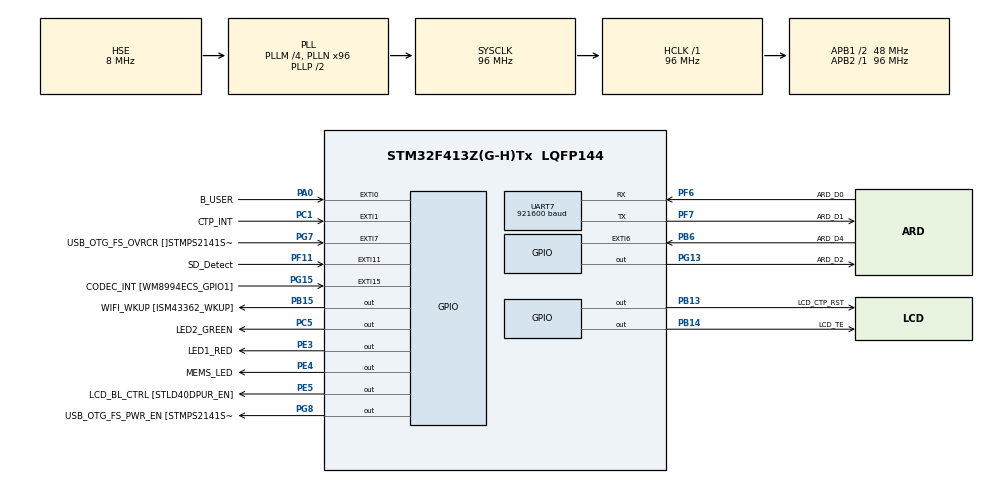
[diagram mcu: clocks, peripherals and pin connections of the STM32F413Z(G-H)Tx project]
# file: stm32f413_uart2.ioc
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Mcu.Family=STM32F4
Mcu.Name=STM32F413Z(G-H)Tx
Mcu.Package=LQFP144
NVIC.PriorityGroup=NVIC_PRIORITYGROUP_4
PA0.GPIO_Label=B_USER
PA0.Signal=GPXTI0
PA1.GPIO_Label=ARD_A1
PA1.Signal=ADCx_IN1
PA10.GPIO_Label=USB_OTG_FS_ID
PA10.Signal=USB_OTG_FS_ID
PA11.GPIO_Label=USB_OTG_FS_DM
PA11.Signal=USB_OTG_FS_DM
PA12.GPIO_Label=USB_OTG_FS_DP
PA12.Signal=USB_OTG_FS_DP
PA13.GPIO_Label=STLINK_JTMS_SWDIO
PA13.Signal=SYS_JTMS-SWDIO
PA14.GPIO_Label=STLINK_JTMS_SWCLK
PA14.Signal=SYS_JTCK-SWCLK
PA15.GPIO_Label=ARD_D10
PA15.Signal=S_TIM2_CH1_ETR
PA2.GPIO_Label=ARD_A2
PA2.Signal=ADCx_IN2
PA3.GPIO_Label=CODEC_MCK [WM8994ECS_MCLK1]
PA3.Signal=I2S2_MCK
PA4.GPIO_Label=ARD_D8
PA4.Signal=COMP_DAC1_group
PA5.GPIO_Label=ARD_A3
PA5.Signal=ADCx_IN5
PA6.GPIO_Label=SD_CMD
PA6.Signal=SDIO_CMD
PA7.GPIO_Label=DFSDM2_DATIN1
PA7.Signal=S_DATAIN1DFSDM2
PA8.GPIO_Label=DFSDM1_CKOUT
PA8.Signal=S_CKOUTDFSDM1
PA9.GPIO_Label=USB_OTG_FS_VBUS
PA9.Signal=USB_OTG_FS_VBUS
PB0.GPIO_Label=ARD_D6
PB0.Signal=S_TIM3_CH3
PB1.GPIO_Label=ARD_A4
PB1.Signal=ADCx_IN9
PB10.GPIO_Label=ARD_D15
PB10.Signal=I2C2_SCL
PB11.GPIO_Label=ARD_D14
PB11.Signal=I2C2_SDA
PB12.GPIO_Label=ARD_D13 [ISM43362_SCK]
PB12.Signal=SPI3_SCK
PB13.GPIO_Label=LCD_CTP_RST
PB13.Signal=GPIO_Output
PB14.GPIO_Label=LCD_TE
PB14.Signal=GPIO_Output
PB15.GPIO_Label=WIFI_WKUP [ISM43362_WKUP]
PB15.Signal=GPIO_Output
PB2.GPIO_Label=QSPI_CLK [N25Q128A13EF840F_C]
PB2.Signal=QUADSPI_CLK
PB3.GPIO_Label=STLINK_JTDO_SWCLK
PB3.Signal=SYS_JTDO-SWO
PB4.GPIO_Label=ARD_D12 [ISM43362_MISO]
PB4.Signal=SPI3_MISO
PB5.GPIO_Label=ARD_D11 [ISM43362_MOSI]
PB5.Signal=SPI3_MOSI
PB6.GPIO_Label=ARD_D4
PB6.Signal=GPXTI6
PB7.GPIO_Label=DFSDM2_DATIN7
PB7.Signal=S_DATAIN7DFSDM2
PB8.GPIO_Label=ARD_D9
PB8.Signal=S_TIM4_CH3
PB9.GPIO_Label=CODEC_WS [WM8994ECS_LRCLK1]
PB9.Signal=I2S2_WS
PC0.GPIO_Label=ARD_A0
PC0.Signal=ADCx_IN10
PC1.GPIO_Label=CTP_INT
PC1.Signal=GPXTI1
PC10.GPIO_Label=SD_D2
PC10.Signal=SDIO_D2
PC11.GPIO_Label=SD_D3
PC11.Signal=SDIO_D3
PC12.GPIO_Label=SD_CLK
PC12.Signal=SDIO_CK
PC14-OSC32_IN.GPIO_Label=OSC32_IN
PC14-OSC32_IN.Signal=RCC_OSC32_IN
PC15-OSC32_OUT.GPIO_Label=OSC32_OUT
PC15-OSC32_OUT.Signal=RCC_OSC32_OUT
PC2.GPIO_Label=CODEC_ext_SD [WM8994ECS_ADC_DAT1]
PC2.Signal=I2S2_ext_SD
PC3.GPIO_Label=CODEC_SD [WM8994ECS_DACDAT1]
PC3.Signal=I2S2_SD
PC4.GPIO_Label=ARD_A5
PC4.Signal=ADCx_IN14
PC5.GPIO_Label=LED2_GREEN
PC5.Signal=GPIO_Output
PC6.GPIO_Label=I2CFMP1_SCL [WM8994ECS_CLK]
PC6.Signal=FMPI2C1_SCL
PC7.GPIO_Label=I2CFMP_SDA [WM8994ECS_SDA]
PC7.Signal=FMPI2C1_SDA
PC8.GPIO_Label=SD_D0
PC8.Signal=SDIO_D0
PC9.GPIO_Label=SD_D1
PC9.Signal=SDIO_D1
PD0.GPIO_Label=LCD_PSRAM_D2
PD0.Signal=FSMC_D2_DA2
PD1.GPIO_Label=LCD_PSRAM_D3
PD1.Signal=FSMC_D3_DA3
PD10.GPIO_Label=LCd_PSRAM_D15
PD10.Signal=FSMC_D15_DA15
PD11.GPIO_Label=PSRAM_A16 [IS66WV51216EBLL_A16]
PD11.Signal=FSMC_A16
PD12.GPIO_Label=PSRAM_A17 [IS66WV51216EBLL_A17]
PD12.Signal=FSMC_A17
PD13.GPIO_Label=QSPI_BK1_IO3 [N25Q128A13EF840F_DQ3]
PD13.Signal=QUADSPI_BK1_IO3
PD14.GPIO_Label=LCD_PSRAM_D0
PD14.Signal=FSMC_D0_DA0
PD15.GPIO_Label=LCD_PSRAM_D1
PD15.Signal=FSMC_D1_DA1
PD2.GPIO_Label=DFSDM2_CKOUT
PD2.Signal=S_CKOUTDFSDM2
PD3.GPIO_Label=CODEC_CK [WM8994ECS_BCLK1]
PD3.Signal=I2S2_CK
PD4.GPIO_Label=LCD_PSRAM_NOE
PD4.Signal=FSMC_NOE
PD5.GPIO_Label=LCD_PSRAM_NWE
PD5.Signal=FSMC_NWE
PD6.GPIO_Label=DFSDM1_DATIN1
PD6.Signal=S_DATAIN1DFSDM1
PD7.GPIO_Label=PSRAM_NE1 [IS66WV51216EBLL_CS1]
PD7.Signal=FSMC_NE1
PD8.GPIO_Label=LCD_PSRAM_D13
PD8.Signal=FSMC_D13_DA13
PD9.GPIO_Label=LCD_PSRAM_D14
PD9.Signal=FSMC_D14_DA14
PE0.GPIO_Label=PSRAM_NBL0 [IS66WV51216EBLL_LB]
PE0.Signal=FSMC_NBL0
PE1.GPIO_Label=PSRAM_NBL1 [IS66WV51216EBLL_UB]
PE1.Signal=FSMC_NBL1
PE10.GPIO_Label=LCD_PSRAM_D7
PE10.Signal=FSMC_D7_DA7
PE11.GPIO_Label=LCD_PSRAM_D8
PE11.Signal=FSMC_D8_DA8
PE12.GPIO_Label=LCD_PSRAM_D9
PE12.Signal=FSMC_D9_DA9
PE13.GPIO_Label=LCD_PSRAM_D10
PE13.Signal=FSMC_D10_DA10
PE14.GPIO_Label=LCD_PSRAM_D11
PE14.Signal=FSMC_D11_DA11
PE15.GPIO_Label=LCD_PSRAM_D12
PE15.Signal=FSMC_D12_DA12
PE2.GPIO_Label=QSPI_BK1_IO2 [N25Q128A13EF840F_DQ2]
PE2.Signal=QUADSPI_BK1_IO2
PE3.GPIO_Label=LED1_RED
PE3.Signal=GPIO_Output
PE4.GPIO_Label=MEMS_LED
PE4.Signal=GPIO_Output
PE5.GPIO_Label=LCD_BL_CTRL [STLD40DPUR_EN]
PE5.Signal=GPIO_Output
PE6.GPIO_Label=ARD_D5
PE6.Signal=S_TIM9_CH2
PE7.GPIO_Label=LCD_PSRAM_D4
PE7.Signal=FSMC_D4_DA4
PE8.GPIO_Label=LCD_PSRAM_D5
PE8.Signal=FSMC_D5_DA5
PE9.GPIO_Label=LCD_PSRAM_D6
PE9.Signal=FSMC_D6_DA6
PF0.GPIO_Label=PSRAM_A0 [IS66WV51216EBLL_A0]
PF0.Signal=FSMC_A0
PF1.GPIO_Label=PSRAM_A1 [IS66WV51216EBLL_A1]
PF1.Signal=FSMC_A1
PF10.GPIO_Label=ARD_D3
PF10.Signal=S_TIM5_CH4
PF11.GPIO_Label=SD_Detect
PF11.Signal=GPXTI11
PF12.GPIO_Label=PSRAM_A6 [IS66WV51216EBLL_A6]
PF12.Signal=FSMC_A6
PF13.GPIO_Label=PSRAM_A7 [IS66WV51216EBLL_A7]
PF13.Signal=FSMC_A7
PF14.GPIO_Label=PSRAM_A8 [IS66WV51216EBLL_A8]
PF14.Signal=FSMC_A8
PF15.GPIO_Label=PSRAM_A9 [IS66WV51216EBLL_A9]
PF15.Signal=FSMC_A9
PF2.GPIO_Label=PSRAM_A2 [IS66WV51216EBLL_A2]
PF2.Signal=FSMC_A2
PF3.GPIO_Label=PSRAM_A3 [IS66WV51216EBLL_A3]
PF3.Signal=FSMC_A3
PF4.GPIO_Label=PSRAM_A4 [IS66WV51216EBLL_A4]
PF4.Signal=FSMC_A4
PF5.GPIO_Label=PSRAM_A5 [IS66WV51216EBLL_A5]
PF5.Signal=FSMC_A5
PF6.GPIO_Label=ARD_D0
PF6.Mode=Asynchronous
PF6.Signal=UART7_RX
PF7.GPIO_Label=ARD_D1
PF7.Mode=Asynchronous
PF7.Signal=UART7_TX
PF8.GPIO_Label=QSPI_BK1_IO0 [N25Q128A13EF840F_DQ0]
PF8.Signal=QUADSPI_BK1_IO0
PF9.GPIO_Label=QSPI_BK1_IO1 [N25Q128A13EF840F_DQ1]
PF9.Signal=QUADSPI_BK1_IO1
PG0.GPIO_Label=PSRAM_A10 [IS66WV51216EBLL_A10]
PG0.Signal=FSMC_A10
PG1.GPIO_Label=PSRAM_A11 [IS66WV51216EBLL_A11]
PG1.Signal=FSMC_A11
PG10.GPIO_Label=LCD_NE3
PG10.Signal=FSMC_NE3
PG11.GPIO_Label=WIFI_SPI_CSN [ISM43362_SPI_CS]
PG11.Signal=UART10_RX
PG12.GPIO_Label=WIFI_DRDY [ISM43362_DRDY]
PG12.Signal=UART10_TX
PG13.GPIO_Label=ARD_D2
PG13.Signal=GPIO_Output
PG14.GPIO_Label=VCP_TX
PG14.Signal=USART6_TX
PG15.GPIO_Label=CODEC_INT [WM8994ECS_GPIO1]
PG15.Signal=GPXTI15
PG2.GPIO_Label=PSRAM_A12 [IS66WV51216EBLL_A12]
PG2.Signal=FSMC_A12
PG3.GPIO_Label=PSRAM_A13 [IS66WV51216EBLL_A13]
PG3.Signal=FSMC_A13
PG4.GPIO_Label=PSRAM_A14 [IS66WV51216EBLL_A14]
PG4.Signal=FSMC_A14
PG5.GPIO_Label=PSRAM_A15 [IS66WV51216EBLL_A15]
PG5.Signal=FSMC_A15
PG6.GPIO_Label=QSPI_BK1_NCS [N25Q128A13EF840F_S]
PG6.Signal=QUADSPI_BK1_NCS
PG7.GPIO_Label=USB_OTG_FS_OVRCR []STMPS2141STR_FAULT]
PG7.Signal=GPXTI7
PG8.GPIO_Label=USB_OTG_FS_PWR_EN [STMPS2141STR_EN]
PG8.Signal=GPIO_Output
PG9.GPIO_Label=VCP_RX
PG9.Signal=USART6_RX
PH0\ -\ OSC_IN.GPIO_Label=STLK_MCO
PH0\ -\ OSC_IN.Mode=HSE-External-Oscillator
PH0\ -\ OSC_IN.Signal=RCC_OSC_IN
PH1\ -\ OSC_OUT.Mode=HSE-External-Oscillator
PH1\ -\ OSC_OUT.Signal=RCC_OSC_OUT
ProjectManager.HeapSize=0x200
ProjectManager.StackSize=0x400
ProjectManager.TargetToolchain=CMake
RCC.AHBFreq_Value=96000000
RCC.APB1CLKDivider=RCC_HCLK_DIV2
RCC.APB1Freq_Value=48000000
RCC.APB1TimFreq_Value=96000000
RCC.APB2Freq_Value=96000000
RCC.APB2TimFreq_Value=96000000
RCC.CortexFreq_Value=96000000
RCC.HCLKFreq_Value=96000000
RCC.HSE_VALUE=8000000
RCC.PLLI2SM=12
RCC.PLLI2SN=50
RCC.PLLM=4
RCC.PLLN=96
RCC.PLLQ=5
RCC.PLLSourceVirtual=RCC_PLLSOURCE_HSE
RCC.SDIOCLockSelection=RCC_SDIOCLKSOURCE_SYSCLK
RCC.SYSCLKFreq_VALUE=96000000
RCC.SYSCLKSource=RCC_SYSCLKSOURCE_PLLCLK
RCC.USBFreq_Value=38400000
RCC.VCOOutputFreq_Value=192000000
SH.ADCx_IN1.0=ADC1_IN1
SH.ADCx_IN10.0=ADC1_IN10
SH.ADCx_IN14.0=ADC1_IN14
SH.ADCx_IN2.0=ADC1_IN2
SH.ADCx_IN5.0=ADC1_IN5
SH.ADCx_IN9.0=ADC1_IN9
SH.COMP_DAC1_group.0=DAC_OUT1
SH.FSMC_A0.0=FSMC_A0
SH.FSMC_A0.1=FSMC_A0
SH.FSMC_A1.0=FSMC_A1
SH.FSMC_A10.0=FSMC_A10
SH.FSMC_A11.0=FSMC_A11
SH.FSMC_A12.0=FSMC_A12
SH.FSMC_A13.0=FSMC_A13
SH.FSMC_A14.0=FSMC_A14
SH.FSMC_A15.0=FSMC_A15
SH.FSMC_A16.0=FSMC_A16
SH.FSMC_A17.0=FSMC_A17
SH.FSMC_A2.0=FSMC_A2
SH.FSMC_A3.0=FSMC_A3
SH.FSMC_A4.0=FSMC_A4
SH.FSMC_A5.0=FSMC_A5
SH.FSMC_A6.0=FSMC_A6
SH.FSMC_A7.0=FSMC_A7
SH.FSMC_A8.0=FSMC_A8
SH.FSMC_A9.0=FSMC_A9
SH.FSMC_D0_DA0.0=FSMC_D0
SH.FSMC_D0_DA0.1=FSMC_D0
SH.FSMC_D10_DA10.0=FSMC_D10
SH.FSMC_D10_DA10.1=FSMC_D10
SH.FSMC_D11_DA11.0=FSMC_D11
SH.FSMC_D11_DA11.1=FSMC_D11
SH.FSMC_D12_DA12.0=FSMC_D12
SH.FSMC_D12_DA12.1=FSMC_D12
SH.FSMC_D13_DA13.0=FSMC_D13
SH.FSMC_D13_DA13.1=FSMC_D13
SH.FSMC_D14_DA14.0=FSMC_D14
SH.FSMC_D14_DA14.1=FSMC_D14
SH.FSMC_D15_DA15.0=FSMC_D15
SH.FSMC_D15_DA15.1=FSMC_D15
SH.FSMC_D1_DA1.0=FSMC_D1
SH.FSMC_D1_DA1.1=FSMC_D1
SH.FSMC_D2_DA2.0=FSMC_D2
SH.FSMC_D2_DA2.1=FSMC_D2
SH.FSMC_D3_DA3.0=FSMC_D3
SH.FSMC_D3_DA3.1=FSMC_D3
SH.FSMC_D4_DA4.0=FSMC_D4
SH.FSMC_D4_DA4.1=FSMC_D4
SH.FSMC_D5_DA5.0=FSMC_D5
SH.FSMC_D5_DA5.1=FSMC_D5
SH.FSMC_D6_DA6.0=FSMC_D6
SH.FSMC_D6_DA6.1=FSMC_D6
SH.FSMC_D7_DA7.0=FSMC_D7
SH.FSMC_D7_DA7.1=FSMC_D7
SH.FSMC_D8_DA8.0=FSMC_D8
SH.FSMC_D8_DA8.1=FSMC_D8
SH.FSMC_D9_DA9.0=FSMC_D9
SH.FSMC_D9_DA9.1=FSMC_D9
SH.FSMC_NBL0.0=FSMC_NBL0
SH.FSMC_NBL1.0=FSMC_NBL1
SH.FSMC_NOE.0=FSMC_NOE
SH.FSMC_NOE.1=FSMC_NOE
SH.FSMC_NWE.0=FSMC_NWE
SH.FSMC_NWE.1=FSMC_NWE
SH.S_CKOUTDFSDM1.0=DFSDM1_CKOUT
SH.S_CKOUTDFSDM2.0=DFSDM2_CKOUT
SH.S_DATAIN1DFSDM1.0=DFSDM1_DATIN1
SH.S_DATAIN1DFSDM2.0=DFSDM2_DATIN1
SH.S_DATAIN7DFSDM2.0=DFSDM2_DATIN7
SH.S_TIM2_CH1_ETR.0=TIM2_CH1
SH.S_TIM3_CH3.0=TIM3_CH3
SH.S_TIM4_CH3.0=TIM4_CH3
SH.S_TIM5_CH4.0=TIM5_CH4
SH.S_TIM9_CH2.0=TIM9_CH2
UART7.BaudRate=921600
UART7.VirtualMode=Asynchronous
board=STM32F413H-DISCO

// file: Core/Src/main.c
/* USER CODE BEGIN Header */
/**
  ******************************************************************************
  * @file           : main.c
  * @brief          : Main program body
  ******************************************************************************
  * @attention
  *
  * Copyright (c) 2025 STMicroelectronics.
  * All rights reserved.
  *
  * This software is licensed under terms that can be found in the LICENSE file
  * in the root directory of this software component.
  * If no LICENSE file comes with this software, it is provided AS-IS.
  *
  ******************************************************************************
  */
/* USER CODE END Header */
#include "main.h"
#include "usart.h"
#include "gpio.h"

/* USER CODE BEGIN Includes */
#include <stdio.h>
#include <string.h>

/* USER CODE END Includes */

void SystemClock_Config(void);

/* USER CODE BEGIN 0 */
int __io_putchar(int ch) {
  HAL_UART_Transmit(&huart7, (uint8_t *)&ch, 1, 0xFFFF);
  if (ch == '\n') {
    HAL_UART_Transmit(&huart7, (uint8_t *)"\r", 1, 0xFFFF);
  }
  return ch;
}

/* USER CODE END 0 */

int main(void)
{

  /* MCU Configuration--------------------------------------------------------*/

  /* Reset of all peripherals, Initializes the Flash interface and the Systick. */
  HAL_Init();

  /* Configure the system clock */
  SystemClock_Config();

  /* Initialize all configured peripherals */
  MX_GPIO_Init();
  MX_UART7_Init();
  /* USER CODE BEGIN 2 */
  static uint8_t msg[] =
      "********10********20********30********40********50********60********70**"
      "******80********90*******100*******110*******120*******130*******140****"
      "***150*******160*******170*******180*******190*******200*******210******"
      "*220*******230*******240*******250****\n\r";
  uint16_t len = strlen((char *)msg);
  uint32_t t1 = 0, t2;
  uint32_t N = 100;

  printf("*****UART TX Tester*****\n");

    t1 = HAL_GetTick();
    for (int cnt = 0; cnt < N; ++cnt) {
      HAL_UART_Transmit(&huart7, msg, len, 0xFFFF);
    }
    t2 = HAL_GetTick();

    uint32_t tmp = len * N * 8;
    uint32_t num = tmp / (t2 - t1);
    uint32_t frac = (tmp - num * (t2 - t1)) * 1000 / (t2 - t1);

    printf("BlockSize: %u byte\n", len);
    printf("Repeat:    %u\n", N);
    printf("TxRate:    %u.%03u kbps (%u ms)\n", num, frac, t2 - t1);
  /* USER CODE END 2 */

  /* Infinite loop */
  while (1)
  {

  }
}

void SystemClock_Config(void)
{
  RCC_OscInitTypeDef RCC_OscInitStruct = {0};
  RCC_ClkInitTypeDef RCC_ClkInitStruct = {0};

  /** Configure the main internal regulator output voltage
  */
  __HAL_RCC_PWR_CLK_ENABLE();
  __HAL_PWR_VOLTAGESCALING_CONFIG(PWR_REGULATOR_VOLTAGE_SCALE1);

  /** Initializes the RCC Oscillators according to the specified parameters
  * in the RCC_OscInitTypeDef structure.
  */
  RCC_OscInitStruct.OscillatorType = RCC_OSCILLATORTYPE_HSE;
  RCC_OscInitStruct.HSEState = RCC_HSE_ON;
  RCC_OscInitStruct.PLL.PLLState = RCC_PLL_ON;
  RCC_OscInitStruct.PLL.PLLSource = RCC_PLLSOURCE_HSE;
  RCC_OscInitStruct.PLL.PLLM = 4;
  RCC_OscInitStruct.PLL.PLLN = 96;
  RCC_OscInitStruct.PLL.PLLP = RCC_PLLP_DIV2;
  RCC_OscInitStruct.PLL.PLLQ = 5;
  RCC_OscInitStruct.PLL.PLLR = 2;
  if (HAL_RCC_OscConfig(&RCC_OscInitStruct) != HAL_OK)
  {
    Error_Handler();
  }

  /** Initializes the CPU, AHB and APB buses clocks
  */
  RCC_ClkInitStruct.ClockType = RCC_CLOCKTYPE_HCLK|RCC_CLOCKTYPE_SYSCLK
                              |RCC_CLOCKTYPE_PCLK1|RCC_CLOCKTYPE_PCLK2;
  RCC_ClkInitStruct.SYSCLKSource = RCC_SYSCLKSOURCE_PLLCLK;
  RCC_ClkInitStruct.AHBCLKDivider = RCC_SYSCLK_DIV1;
  RCC_ClkInitStruct.APB1CLKDivider = RCC_HCLK_DIV2;
  RCC_ClkInitStruct.APB2CLKDivider = RCC_HCLK_DIV1;

  if (HAL_RCC_ClockConfig(&RCC_ClkInitStruct, FLASH_LATENCY_3) != HAL_OK)
  {
    Error_Handler();
  }
}

void Error_Handler(void)
{
  __disable_irq();
  while (1)
  {
  }
}
